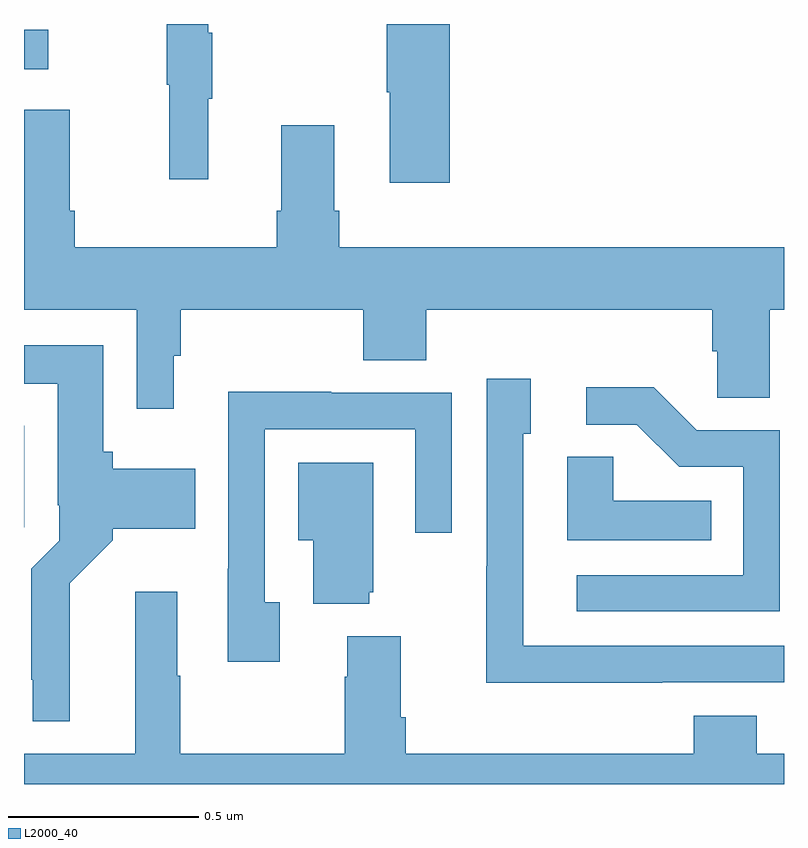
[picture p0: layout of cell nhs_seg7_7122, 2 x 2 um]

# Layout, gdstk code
import gdstk
lib = gdstk.Library(unit=1e-6, precision=1e-09)
def R(c, l, rs):  # rectangles x0, y0, x1, y1
    for r in rs: c.add(gdstk.rectangle(r[:2], r[2:], *l))
def P(c, l, *ps):  # polygons
    for p in ps: c.add(gdstk.Polygon(p, *l))
L2000_40 = (2000, 40)

nhs_seg7_7122 = lib.new_cell('nhs_seg7_7122')
R(nhs_seg7_7122, L2000_40, [(207,1034.676,207.001,1034.943), (207,1035.881,207.064,1035.985)])
P(nhs_seg7_7122, L2000_40, [(208.121,1036),(207.955,1036),(207.955,1035.82),(207.962,1035.82),(207.962,1035.582),(208.121,1035.582)],
  [(207.485,1035.803),(207.496,1035.803),(207.496,1035.977),(207.485,1035.977),(207.485,1036),(207.375,1036),(207.375,1035.84),(207.382,1035.84),(207.382,1035.591),(207.485,1035.591)],
  [(207.394,1035.127),(207.413,1035.127),(207.413,1035.248),(207.893,1035.248),(207.893,1035.115),(208.058,1035.115),(208.058,1035.248),(208.811,1035.248),(208.811,1035.139),(208.824,1035.139),(208.824,1035.016),(208.963,1035.016),(208.963,1035.248),(209,1035.248),(209,1035.412),(207.83,1035.412),(207.83,1035.508),(207.817,1035.508),(207.817,1035.733),(207.677,1035.733),(207.677,1035.508),(207.665,1035.508),(207.665,1035.412),(207.134,1035.412),(207.134,1035.508),(207.121,1035.508),(207.121,1035.775),(207,1035.775),(207,1035.248),(207.297,1035.248),(207.297,1034.988),(207.394,1034.988)],
  [(207.121,1034.528),(207.234,1034.641),(207.234,1034.672),(207.451,1034.672),(207.451,1034.83),(207.234,1034.83),(207.234,1034.874),(207.208,1034.874),(207.208,1035.154),(207,1035.154),(207,1035.053),(207.089,1035.053),(207.089,1034.734),(207.093,1034.734),(207.093,1034.64),(207.019,1034.566),(207.019,1034.275),(207.023,1034.275),(207.023,1034.165),(207.121,1034.165)],
  [(208.679,1034.268),(209,1034.268),(209,1034.364),(208.314,1034.364),(208.314,1034.922),(208.333,1034.922),(208.333,1035.067),(208.218,1035.067),(208.218,1034.573),(208.216,1034.573),(208.216,1034.267),(208.679,1034.267)],
  [(208.989,1034.931),(208.77,1034.931),(208.657,1035.044),(208.479,1035.044),(208.479,1034.946),(208.613,1034.946),(208.724,1034.835),(208.893,1034.835),(208.893,1034.55),(208.455,1034.55),(208.455,1034.454),(208.989,1034.454)],
  [(207.673,1034.478),(207.633,1034.478),(207.633,1034.934),(208.029,1034.934),(208.029,1034.661),(208.125,1034.661),(208.125,1035.03),(207.809,1035.03),(207.809,1035.032),(207.537,1035.032),(207.537,1034.566),(207.536,1034.566),(207.536,1034.322),(207.673,1034.322)],
  [(208.808,1034.746),(208.551,1034.746),(208.551,1034.861),(208.43,1034.861),(208.43,1034.642),(208.808,1034.642)],
  [(207.908,1034.505),(207.919,1034.505),(207.919,1034.845),(207.722,1034.845),(207.722,1034.642),(207.761,1034.642),(207.761,1034.474),(207.908,1034.474)],
  [(209,1034.08),(208.928,1034.08),(208.928,1034.179),(208.763,1034.179),(208.763,1034.08),(208.004,1034.08),(208.004,1034.176),(207.991,1034.176),(207.991,1034.389),(207.851,1034.389),(207.851,1034.282),(207.844,1034.282),(207.844,1034.08),(207.411,1034.08),(207.411,1034.285),(207.403,1034.285),(207.403,1034.506),(207.293,1034.506),(207.293,1034.08),(207,1034.08),(207,1034),(209,1034)])

lib.write_gds('nhs_seg7_7122.gds')
